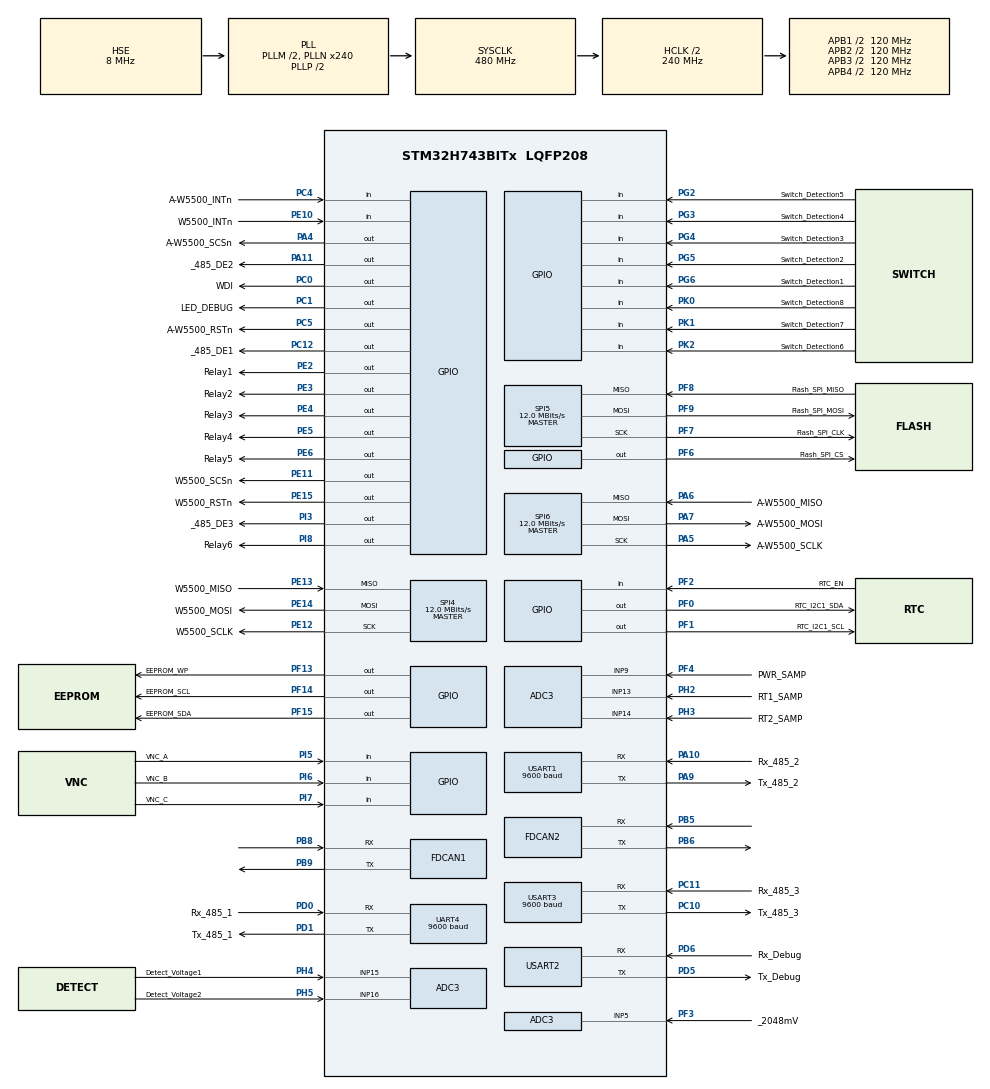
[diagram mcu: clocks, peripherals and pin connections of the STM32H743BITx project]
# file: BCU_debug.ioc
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ADC3.Channel-4\#ChannelRegularConversion=ADC_CHANNEL_14
ADC3.NbrOfConversionFlag=1
ADC3.OffsetNumber-4\#ChannelRegularConversion=ADC_OFFSET_NONE
ADC3.OffsetSignedSaturation-4\#ChannelRegularConversion=DISABLE
ADC3.Rank-4\#ChannelRegularConversion=1
ADC3.SamplingTime-4\#ChannelRegularConversion=ADC_SAMPLETIME_1CYCLE_5
CORTEX_M7.CPU_DCache=Disabled
CORTEX_M7.CPU_ICache=Disabled
Dma.Request0=UART4_RX
Dma.Request1=UART4_TX
Dma.Request2=USART1_RX
Dma.Request3=USART1_TX
Dma.Request4=USART3_RX
Dma.Request5=USART3_TX
Dma.UART4_RX.0.Direction=DMA_PERIPH_TO_MEMORY
Dma.UART4_RX.0.EventEnable=DISABLE
Dma.UART4_RX.0.FIFOMode=DMA_FIFOMODE_DISABLE
Dma.UART4_RX.0.Instance=DMA1_Stream0
Dma.UART4_RX.0.MemDataAlignment=DMA_MDATAALIGN_BYTE
Dma.UART4_RX.0.MemInc=DMA_MINC_ENABLE
Dma.UART4_RX.0.Mode=DMA_NORMAL
Dma.UART4_RX.0.PeriphDataAlignment=DMA_PDATAALIGN_BYTE
Dma.UART4_RX.0.PeriphInc=DMA_PINC_DISABLE
Dma.UART4_RX.0.Polarity=HAL_DMAMUX_REQ_GEN_RISING
Dma.UART4_RX.0.Priority=DMA_PRIORITY_LOW
Dma.UART4_RX.0.RequestNumber=1
Dma.UART4_RX.0.SignalID=NONE
Dma.UART4_RX.0.SyncEnable=DISABLE
Dma.UART4_RX.0.SyncPolarity=HAL_DMAMUX_SYNC_NO_EVENT
Dma.UART4_RX.0.SyncRequestNumber=1
Dma.UART4_RX.0.SyncSignalID=NONE
Dma.UART4_TX.1.Direction=DMA_MEMORY_TO_PERIPH
Dma.UART4_TX.1.EventEnable=DISABLE
Dma.UART4_TX.1.FIFOMode=DMA_FIFOMODE_DISABLE
Dma.UART4_TX.1.Instance=DMA1_Stream1
Dma.UART4_TX.1.MemDataAlignment=DMA_MDATAALIGN_BYTE
Dma.UART4_TX.1.MemInc=DMA_MINC_ENABLE
Dma.UART4_TX.1.Mode=DMA_NORMAL
Dma.UART4_TX.1.PeriphDataAlignment=DMA_PDATAALIGN_BYTE
Dma.UART4_TX.1.PeriphInc=DMA_PINC_DISABLE
Dma.UART4_TX.1.Polarity=HAL_DMAMUX_REQ_GEN_RISING
Dma.UART4_TX.1.Priority=DMA_PRIORITY_LOW
Dma.UART4_TX.1.RequestNumber=1
Dma.UART4_TX.1.SignalID=NONE
Dma.UART4_TX.1.SyncEnable=DISABLE
Dma.UART4_TX.1.SyncPolarity=HAL_DMAMUX_SYNC_NO_EVENT
Dma.UART4_TX.1.SyncRequestNumber=1
Dma.UART4_TX.1.SyncSignalID=NONE
Dma.USART1_RX.2.Direction=DMA_PERIPH_TO_MEMORY
Dma.USART1_RX.2.EventEnable=DISABLE
Dma.USART1_RX.2.FIFOMode=DMA_FIFOMODE_DISABLE
Dma.USART1_RX.2.Instance=DMA1_Stream2
Dma.USART1_RX.2.MemDataAlignment=DMA_MDATAALIGN_BYTE
Dma.USART1_RX.2.MemInc=DMA_MINC_ENABLE
Dma.USART1_RX.2.Mode=DMA_NORMAL
Dma.USART1_RX.2.PeriphDataAlignment=DMA_PDATAALIGN_BYTE
Dma.USART1_RX.2.PeriphInc=DMA_PINC_DISABLE
Dma.USART1_RX.2.Polarity=HAL_DMAMUX_REQ_GEN_RISING
Dma.USART1_RX.2.Priority=DMA_PRIORITY_LOW
Dma.USART1_RX.2.RequestNumber=1
Dma.USART1_RX.2.SignalID=NONE
Dma.USART1_RX.2.SyncEnable=DISABLE
Dma.USART1_RX.2.SyncPolarity=HAL_DMAMUX_SYNC_NO_EVENT
Dma.USART1_RX.2.SyncRequestNumber=1
Dma.USART1_RX.2.SyncSignalID=NONE
Dma.USART1_TX.3.Direction=DMA_MEMORY_TO_PERIPH
Dma.USART1_TX.3.EventEnable=DISABLE
Dma.USART1_TX.3.FIFOMode=DMA_FIFOMODE_DISABLE
Dma.USART1_TX.3.Instance=DMA1_Stream3
Dma.USART1_TX.3.MemDataAlignment=DMA_MDATAALIGN_BYTE
Dma.USART1_TX.3.MemInc=DMA_MINC_ENABLE
Dma.USART1_TX.3.Mode=DMA_NORMAL
Dma.USART1_TX.3.PeriphDataAlignment=DMA_PDATAALIGN_BYTE
Dma.USART1_TX.3.PeriphInc=DMA_PINC_DISABLE
Dma.USART1_TX.3.Polarity=HAL_DMAMUX_REQ_GEN_RISING
Dma.USART1_TX.3.Priority=DMA_PRIORITY_LOW
Dma.USART1_TX.3.RequestNumber=1
Dma.USART1_TX.3.SignalID=NONE
Dma.USART1_TX.3.SyncEnable=DISABLE
Dma.USART1_TX.3.SyncPolarity=HAL_DMAMUX_SYNC_NO_EVENT
Dma.USART1_TX.3.SyncRequestNumber=1
Dma.USART1_TX.3.SyncSignalID=NONE
Dma.USART3_RX.4.Direction=DMA_PERIPH_TO_MEMORY
Dma.USART3_RX.4.EventEnable=DISABLE
Dma.USART3_RX.4.FIFOMode=DMA_FIFOMODE_DISABLE
Dma.USART3_RX.4.Instance=DMA1_Stream4
Dma.USART3_RX.4.MemDataAlignment=DMA_MDATAALIGN_BYTE
Dma.USART3_RX.4.MemInc=DMA_MINC_ENABLE
Dma.USART3_RX.4.Mode=DMA_NORMAL
Dma.USART3_RX.4.PeriphDataAlignment=DMA_PDATAALIGN_BYTE
Dma.USART3_RX.4.PeriphInc=DMA_PINC_DISABLE
Dma.USART3_RX.4.Polarity=HAL_DMAMUX_REQ_GEN_RISING
Dma.USART3_RX.4.Priority=DMA_PRIORITY_LOW
Dma.USART3_RX.4.RequestNumber=1
Dma.USART3_RX.4.SignalID=NONE
Dma.USART3_RX.4.SyncEnable=DISABLE
Dma.USART3_RX.4.SyncPolarity=HAL_DMAMUX_SYNC_NO_EVENT
Dma.USART3_RX.4.SyncRequestNumber=1
Dma.USART3_RX.4.SyncSignalID=NONE
Dma.USART3_TX.5.Direction=DMA_MEMORY_TO_PERIPH
Dma.USART3_TX.5.EventEnable=DISABLE
Dma.USART3_TX.5.FIFOMode=DMA_FIFOMODE_DISABLE
Dma.USART3_TX.5.Instance=DMA1_Stream5
Dma.USART3_TX.5.MemDataAlignment=DMA_MDATAALIGN_BYTE
Dma.USART3_TX.5.MemInc=DMA_MINC_ENABLE
Dma.USART3_TX.5.Mode=DMA_NORMAL
Dma.USART3_TX.5.PeriphDataAlignment=DMA_PDATAALIGN_BYTE
Dma.USART3_TX.5.PeriphInc=DMA_PINC_DISABLE
Dma.USART3_TX.5.Polarity=HAL_DMAMUX_REQ_GEN_RISING
Dma.USART3_TX.5.Priority=DMA_PRIORITY_LOW
Dma.USART3_TX.5.RequestNumber=1
Dma.USART3_TX.5.SignalID=NONE
Dma.USART3_TX.5.SyncEnable=DISABLE
Dma.USART3_TX.5.SyncPolarity=HAL_DMAMUX_SYNC_NO_EVENT
Dma.USART3_TX.5.SyncRequestNumber=1
Dma.USART3_TX.5.SyncSignalID=NONE
FDCAN1.CalculateBaudRateNominal=250000
FDCAN1.CalculateTimeBitNominal=4000
FDCAN1.CalculateTimeQuantumNominal=100.0
FDCAN1.DataPrescaler=8
FDCAN1.DataSyncJumpWidth=12
FDCAN1.DataTimeSeg1=31
FDCAN1.DataTimeSeg2=8
FDCAN1.ExtFiltersNbr=1
FDCAN1.NominalPrescaler=12
FDCAN1.NominalSyncJumpWidth=8
FDCAN1.NominalTimeSeg1=31
FDCAN1.NominalTimeSeg2=8
FDCAN1.RxFifo0ElmtsNbr=64
FDCAN1.RxFifo1ElmtsNbr=0
FDCAN1.StdFiltersNbr=1
FDCAN1.TxFifoQueueElmtsNbr=32
FDCAN2.CalculateBaudRateNominal=250000
FDCAN2.CalculateTimeBitNominal=4000
FDCAN2.CalculateTimeQuantumNominal=100.0
FDCAN2.DataPrescaler=8
FDCAN2.DataSyncJumpWidth=12
FDCAN2.DataTimeSeg1=31
FDCAN2.DataTimeSeg2=8
FDCAN2.ExtFiltersNbr=1
FDCAN2.MessageRAMOffset=1280
FDCAN2.NominalPrescaler=12
FDCAN2.NominalSyncJumpWidth=8
FDCAN2.NominalTimeSeg1=31
FDCAN2.NominalTimeSeg2=8
FDCAN2.RxFifo0ElmtsNbr=0
FDCAN2.RxFifo1ElmtsNbr=64
FDCAN2.StdFiltersNbr=1
FDCAN2.TxFifoQueueElmtsNbr=32
FREERTOS.BinarySemaphores01=BinarySem_485_1_Tx,Static,BinarySem_485_1_TxControlBlock;BinarySem_485_1_Rx,Static,BinarySem_485_1_RxControlBlock;BinarySem_485_2_Tx,Static,BinarySem_485_2_TxControlBlock;BinarySem_485_2_Rx,Static,BinarySem_485_2_RxControlBlock;BinarySem_485_3_Tx,Static,BinarySem_485_3_TxControlBlock;BinarySem_485_3_Rx,Static,BinarySem_485_3_RxControlBlock;BinarySem_LAN_2_Tx,Static,BinarySem_LAN_2_TxControlBlock;BinarySem_LAN_2_Rx,Static,BinarySem_LAN_2_RxControlBlock
FREERTOS.Events01=Comm485_1_Event,Static,Comm485_1_EventControlBlock;Comm485_2_Event,Static,Comm485_2_EventControlBlock;Comm485_3_Event,Static,Comm485_3_EventControlBlock;CommCAN_1_Event,Static,CommCAN_1_EventControlBlock;CommCAN_2_Event,Static,CommCAN_2_EventControlBlock;CommCAN_3_Event,Static,CommCAN_3_EventControlBlock;CommLAN_1_Event,Static,CommLAN_1_EventControlBlock;CommLAN_2_Event,Static,CommLAN_2_EventControlBlock;DI_Event,Static,DI_EventControlBlock;ADC_Event,Static,ADC_EventControlBlock;SysManage_Event,Static,SysManage_EventControlBlock
FREERTOS.Tasks01=defaultTask,24,128,StartDefaultTask,Default,NULL,Static,defaultTaskBuffer,defaultTaskControlBlock;Comm485_1_Task,25,2048,StartComm485_1_Task,Default,NULL,Static,Comm485_1_TaskBuffer,Comm485_1_TaskControlBlock;Comm485_2_Task,26,2048,StartComm485_2_Task,Default,NULL,Static,Comm485_2_TaskBuffer,Comm485_2_TaskControlBlock;Comm485_3_Task,27,2048,StartComm485_3_Task,Default,NULL,Static,Comm485_3_TaskBuffer,Comm485_3_TaskControlBlock;CommCAN_1_Task,28,2048,StartCommCAN_1_Task,Default,NULL,Static,CommCAN_1_TaskBuffer,CommCAN_1_TaskControlBlock;CommCAN_2_Task,29,2048,StartCommCAN_2_Task,Default,NULL,Static,CommCAN_2_TaskBuffer,CommCAN_2_TaskControlBlock;CommCAN_3_Task,30,2048,StartCommCAN_3_Task,Default,NULL,Static,CommCAN_3_TaskBuffer,CommCAN_3_TaskControlBlock;CommLAN_1_Task,31,2048,StartCommLAN_1_Task,Default,NULL,Static,CommLAN_1_TaskBuffer,CommLAN_1_TaskControlBlock;CommLAN_2_Task,32,2048,StartCommLAN_2_Task,Default,NULL,Static,CommLAN_2_TaskBuffer,CommLAN_2_TaskControlBlock;DI_Task,23,2048,StartDI_Task,Default,NULL,Static,DI_TaskBuffer,DI_TaskControlBlock;ADC_Task,22,2048,StartADC_Task,Default,NULL,Static,ADC_TaskBuffer,ADC_TaskControlBlock;SysManage_Task,33,2048,StartSystemManageTask,Default,NULL,Static,SysManage_TaskBuffer,SysManage_TaskControlBlock
FREERTOS.configENABLE_FPU=1
Mcu.Family=STM32H7
Mcu.Name=STM32H743BITx
Mcu.Package=LQFP208
NVIC.DMA1_Stream0_IRQn=true\:5\:0\:false\:false\:true\:true\:false\:true\:true
NVIC.DMA1_Stream1_IRQn=true\:5\:0\:false\:false\:true\:true\:false\:true\:true
NVIC.DMA1_Stream2_IRQn=true\:5\:0\:false\:false\:true\:true\:false\:true\:true
NVIC.DMA1_Stream3_IRQn=true\:5\:0\:false\:false\:true\:true\:false\:true\:true
NVIC.DMA1_Stream4_IRQn=true\:5\:0\:false\:false\:true\:true\:false\:true\:true
NVIC.DMA1_Stream5_IRQn=true\:5\:0\:false\:false\:true\:true\:false\:true\:true
NVIC.FDCAN1_IT0_IRQn=true\:5\:0\:false\:false\:true\:true\:true\:true\:true
NVIC.FDCAN2_IT0_IRQn=true\:5\:0\:false\:false\:true\:true\:true\:true\:true
NVIC.PriorityGroup=NVIC_PRIORITYGROUP_4
NVIC.TIM6_DAC_IRQn=true\:15\:0\:false\:false\:true\:false\:false\:true\:true
NVIC.TimeBase=TIM6_DAC_IRQn
NVIC.TimeBaseIP=TIM6
NVIC.UART4_IRQn=true\:5\:0\:false\:false\:true\:true\:true\:true\:true
NVIC.USART1_IRQn=true\:5\:0\:false\:false\:true\:true\:true\:true\:true
NVIC.USART3_IRQn=true\:5\:0\:false\:false\:true\:true\:true\:true\:true
PA10.GPIO_Label=Rx_485_2
PA10.GPIO_PuPd=GPIO_PULLUP
PA10.GPIO_Speed=GPIO_SPEED_FREQ_VERY_HIGH
PA10.Mode=Asynchronous
PA10.Signal=USART1_RX
PA11.GPIO_Label=_485_DE2
PA11.GPIO_PuPd=GPIO_PULLUP
PA11.PinState=GPIO_PIN_SET
PA11.Signal=GPIO_Output
PA13\ (JTMS/SWDIO).Mode=Serial_Wire
PA13\ (JTMS/SWDIO).Signal=DEBUG_JTMS-SWDIO
PA14\ (JTCK/SWCLK).Mode=Serial_Wire
PA14\ (JTCK/SWCLK).Signal=DEBUG_JTCK-SWCLK
PA4.GPIO_Label=A-W5500_SCSn
PA4.GPIO_PuPd=GPIO_PULLUP
PA4.GPIO_Speed=GPIO_SPEED_FREQ_VERY_HIGH
PA4.PinState=GPIO_PIN_SET
PA4.Signal=GPIO_Output
PA5.GPIO_Label=A-W5500_SCLK
PA5.GPIO_PuPd=GPIO_PULLUP
PA5.GPIO_Speed=GPIO_SPEED_FREQ_VERY_HIGH
PA5.Mode=Full_Duplex_Master
PA5.Signal=SPI6_SCK
PA6.GPIO_Label=A-W5500_MISO
PA6.GPIO_PuPd=GPIO_PULLUP
PA6.GPIO_Speed=GPIO_SPEED_FREQ_VERY_HIGH
PA6.Mode=Full_Duplex_Master
PA6.Signal=SPI6_MISO
PA7.GPIO_Label=A-W5500_MOSI
PA7.GPIO_PuPd=GPIO_PULLUP
PA7.GPIO_Speed=GPIO_SPEED_FREQ_VERY_HIGH
PA7.Mode=Full_Duplex_Master
PA7.Signal=SPI6_MOSI
PA9.GPIO_Label=Tx_485_2
PA9.GPIO_PuPd=GPIO_PULLUP
PA9.GPIO_Speed=GPIO_SPEED_FREQ_VERY_HIGH
PA9.Mode=Asynchronous
PA9.Signal=USART1_TX
PB5.GPIO_PuPd=GPIO_PULLUP
PB5.GPIO_Speed=GPIO_SPEED_FREQ_VERY_HIGH
PB5.Mode=FDCAN_Activate
PB5.Signal=FDCAN2_RX
PB6.GPIO_FM6=SYSCFG_PMCR_I2C_PB6_FMP
PB6.GPIO_PuPd=GPIO_PULLUP
PB6.GPIO_Speed=GPIO_SPEED_FREQ_VERY_HIGH
PB6.Mode=FDCAN_Activate
PB6.Signal=FDCAN2_TX
PB8.GPIO_FM8=SYSCFG_PMCR_I2C_PB8_FMP
PB8.GPIO_PuPd=GPIO_PULLUP
PB8.GPIO_Speed=GPIO_SPEED_FREQ_VERY_HIGH
PB8.Mode=FDCAN_Activate
PB8.Signal=FDCAN1_RX
PB9.GPIO_FM9=SYSCFG_PMCR_I2C_PB9_FMP
PB9.GPIO_PuPd=GPIO_PULLUP
PB9.GPIO_Speed=GPIO_SPEED_FREQ_VERY_HIGH
PB9.Mode=FDCAN_Activate
PB9.Signal=FDCAN1_TX
PC0.GPIO_Label=WDI
PC0.GPIO_PuPd=GPIO_PULLUP
PC0.GPIO_Speed=GPIO_SPEED_FREQ_LOW
PC0.Signal=GPIO_Output
PC1.GPIO_Label=LED_DEBUG
PC1.GPIO_PuPd=GPIO_PULLUP
PC1.GPIO_Speed=GPIO_SPEED_FREQ_LOW
PC1.Signal=GPIO_Output
PC10.GPIO_Label=Tx_485_3
PC10.GPIO_PuPd=GPIO_PULLUP
PC10.GPIO_Speed=GPIO_SPEED_FREQ_VERY_HIGH
PC10.Mode=Asynchronous
PC10.Signal=USART3_TX
PC11.GPIO_Label=Rx_485_3
PC11.GPIO_PuPd=GPIO_PULLDOWN
PC11.GPIO_Speed=GPIO_SPEED_FREQ_VERY_HIGH
PC11.Mode=Asynchronous
PC11.Signal=USART3_RX
PC12.GPIO_Label=_485_DE1
PC12.GPIO_PuPd=GPIO_PULLUP
PC12.GPIO_Speed=GPIO_SPEED_FREQ_LOW
PC12.PinState=GPIO_PIN_SET
PC12.Signal=GPIO_Output
PC4.GPIO_Label=A-W5500_INTn
PC4.GPIO_PuPd=GPIO_PULLUP
PC4.Signal=GPIO_Input
PC5.GPIO_Label=A-W5500_RSTn
PC5.GPIO_PuPd=GPIO_PULLUP
PC5.GPIO_Speed=GPIO_SPEED_FREQ_VERY_HIGH
PC5.Signal=GPIO_Output
PD0.GPIO_Label=Rx_485_1
PD0.GPIO_PuPd=GPIO_PULLUP
PD0.GPIO_Speed=GPIO_SPEED_FREQ_VERY_HIGH
PD0.Mode=Asynchronous
PD0.Signal=UART4_RX
PD1.GPIO_Label=Tx_485_1
PD1.GPIO_PuPd=GPIO_PULLUP
PD1.GPIO_Speed=GPIO_SPEED_FREQ_VERY_HIGH
PD1.Mode=Asynchronous
PD1.Signal=UART4_TX
PD5.GPIO_Label=Tx_Debug
PD5.GPIO_PuPd=GPIO_PULLUP
PD5.GPIO_Speed=GPIO_SPEED_FREQ_VERY_HIGH
PD5.Mode=Asynchronous
PD5.Signal=USART2_TX
PD6.GPIO_Label=Rx_Debug
PD6.GPIO_PuPd=GPIO_PULLUP
PD6.GPIO_Speed=GPIO_SPEED_FREQ_VERY_HIGH
PD6.Mode=Asynchronous
PD6.Signal=USART2_RX
PE10.GPIO_Label=W5500_INTn
PE10.GPIO_PuPd=GPIO_PULLUP
PE10.Signal=GPIO_Input
PE11.GPIO_Label=W5500_SCSn
PE11.GPIO_PuPd=GPIO_PULLUP
PE11.GPIO_Speed=GPIO_SPEED_FREQ_VERY_HIGH
PE11.PinState=GPIO_PIN_SET
PE11.Signal=GPIO_Output
PE12.GPIO_Label=W5500_SCLK
PE12.GPIO_PuPd=GPIO_PULLUP
PE12.GPIO_Speed=GPIO_SPEED_FREQ_VERY_HIGH
PE12.Mode=Full_Duplex_Master
PE12.Signal=SPI4_SCK
PE13.GPIO_Label=W5500_MISO
PE13.GPIO_PuPd=GPIO_PULLUP
PE13.GPIO_Speed=GPIO_SPEED_FREQ_VERY_HIGH
PE13.Mode=Full_Duplex_Master
PE13.Signal=SPI4_MISO
PE14.GPIO_Label=W5500_MOSI
PE14.GPIO_PuPd=GPIO_PULLUP
PE14.GPIO_Speed=GPIO_SPEED_FREQ_VERY_HIGH
PE14.Mode=Full_Duplex_Master
PE14.Signal=SPI4_MOSI
PE15.GPIO_Label=W5500_RSTn
PE15.GPIO_PuPd=GPIO_PULLUP
PE15.GPIO_Speed=GPIO_SPEED_FREQ_VERY_HIGH
PE15.Signal=GPIO_Output
PE2.GPIO_Label=Relay1
PE2.GPIO_PuPd=GPIO_PULLUP
PE2.GPIO_Speed=GPIO_SPEED_FREQ_VERY_HIGH
PE2.Signal=GPIO_Output
PE3.GPIO_Label=Relay2
PE3.GPIO_PuPd=GPIO_PULLUP
PE3.GPIO_Speed=GPIO_SPEED_FREQ_VERY_HIGH
PE3.Signal=GPIO_Output
PE4.GPIO_Label=Relay3
PE4.GPIO_PuPd=GPIO_PULLUP
PE4.GPIO_Speed=GPIO_SPEED_FREQ_VERY_HIGH
PE4.Signal=GPIO_Output
PE5.GPIO_Label=Relay4
PE5.GPIO_PuPd=GPIO_PULLUP
PE5.GPIO_Speed=GPIO_SPEED_FREQ_VERY_HIGH
PE5.Signal=GPIO_Output
PE6.GPIO_Label=Relay5
PE6.GPIO_PuPd=GPIO_PULLUP
PE6.GPIO_Speed=GPIO_SPEED_FREQ_VERY_HIGH
PE6.Signal=GPIO_Output
PF0.GPIO_Label=RTC_I2C1_SDA
PF0.GPIO_PuPd=GPIO_PULLUP
PF0.GPIO_Speed=GPIO_SPEED_FREQ_VERY_HIGH
PF0.Signal=GPIO_Output
PF1.GPIO_Label=RTC_I2C1_SCL
PF1.GPIO_PuPd=GPIO_PULLUP
PF1.GPIO_Speed=GPIO_SPEED_FREQ_VERY_HIGH
PF1.Signal=GPIO_Output
PF13.GPIO_Label=EEPROM_WP
PF13.GPIO_PuPd=GPIO_PULLUP
PF13.GPIO_Speed=GPIO_SPEED_FREQ_VERY_HIGH
PF13.Signal=GPIO_Output
PF14.GPIO_Label=EEPROM_SCL
PF14.GPIO_PuPd=GPIO_PULLUP
PF14.GPIO_Speed=GPIO_SPEED_FREQ_VERY_HIGH
PF14.Signal=GPIO_Output
PF15.GPIO_Label=EEPROM_SDA
PF15.GPIO_PuPd=GPIO_PULLUP
PF15.GPIO_Speed=GPIO_SPEED_FREQ_VERY_HIGH
PF15.Signal=GPIO_Output
PF2.GPIO_Label=RTC_EN
PF2.GPIO_PuPd=GPIO_PULLUP
PF2.Signal=GPIO_Input
PF3.GPIO_Label=_2048mV
PF3.Mode=IN5-Single-Ended
PF3.Signal=ADC3_INP5
PF4.GPIO_Label=PWR_SAMP
PF4.Mode=IN9-Single-Ended
PF4.Signal=ADC3_INP9
PF6.GPIO_Label=Flash_SPI_CS
PF6.GPIO_PuPd=GPIO_PULLUP
PF6.GPIO_Speed=GPIO_SPEED_FREQ_VERY_HIGH
PF6.Signal=GPIO_Output
PF7.GPIO_Label=Flash_SPI_CLK
PF7.GPIO_PuPd=GPIO_PULLUP
PF7.GPIO_Speed=GPIO_SPEED_FREQ_VERY_HIGH
PF7.Mode=Full_Duplex_Master
PF7.Signal=SPI5_SCK
PF8.GPIO_Label=Flash_SPI_MISO
PF8.GPIO_PuPd=GPIO_PULLUP
PF8.GPIO_Speed=GPIO_SPEED_FREQ_VERY_HIGH
PF8.Mode=Full_Duplex_Master
PF8.Signal=SPI5_MISO
PF9.GPIO_Label=Flash_SPI_MOSI
PF9.GPIO_PuPd=GPIO_PULLUP
PF9.GPIO_Speed=GPIO_SPEED_FREQ_VERY_HIGH
PF9.Mode=Full_Duplex_Master
PF9.Signal=SPI5_MOSI
PG2.GPIO_Label=Switch_Detection5
PG2.GPIO_PuPd=GPIO_PULLUP
PG2.Signal=GPIO_Input
PG3.GPIO_Label=Switch_Detection4
PG3.GPIO_PuPd=GPIO_PULLUP
PG3.Signal=GPIO_Input
PG4.GPIO_Label=Switch_Detection3
PG4.GPIO_PuPd=GPIO_PULLUP
PG4.Signal=GPIO_Input
PG5.GPIO_Label=Switch_Detection2
PG5.GPIO_PuPd=GPIO_PULLUP
PG5.Signal=GPIO_Input
PG6.GPIO_Label=Switch_Detection1
PG6.GPIO_PuPd=GPIO_PULLUP
PG6.Signal=GPIO_Input
PH0-OSC_IN\ (PH0).Mode=HSE-External-Oscillator
PH0-OSC_IN\ (PH0).Signal=RCC_OSC_IN
PH1-OSC_OUT\ (PH1).Mode=HSE-External-Oscillator
PH1-OSC_OUT\ (PH1).Signal=RCC_OSC_OUT
PH2.GPIO_Label=RT1_SAMP
PH2.Mode=IN13-Single-Ended
PH2.Signal=ADC3_INP13
PH3.GPIO_Label=RT2_SAMP
PH3.Mode=IN14-Single-Ended
PH3.Signal=ADC3_INP14
PH4.GPIO_Label=Detect_Voltage1
PH4.Mode=IN15-Single-Ended
PH4.Signal=ADC3_INP15
PH5.GPIO_Label=Detect_Voltage2
PH5.Mode=IN16-Single-Ended
PH5.Signal=ADC3_INP16
PI3.GPIO_Label=_485_DE3
PI3.GPIO_PuPd=GPIO_PULLUP
PI3.PinState=GPIO_PIN_SET
PI3.Signal=GPIO_Output
PI5.GPIO_Label=VNC_A
PI5.GPIO_PuPd=GPIO_PULLUP
PI5.Signal=GPIO_Input
PI6.GPIO_Label=VNC_B
PI6.GPIO_PuPd=GPIO_PULLUP
PI6.Signal=GPIO_Input
PI7.GPIO_Label=VNC_C
PI7.GPIO_PuPd=GPIO_PULLUP
PI7.Signal=GPIO_Input
PI8.GPIO_Label=Relay6
PI8.GPIO_PuPd=GPIO_PULLUP
PI8.Signal=GPIO_Output
PK0.GPIO_Label=Switch_Detection8
PK0.GPIO_PuPd=GPIO_PULLUP
PK0.Signal=GPIO_Input
PK1.GPIO_Label=Switch_Detection7
PK1.GPIO_PuPd=GPIO_PULLUP
PK1.Signal=GPIO_Input
PK2.GPIO_Label=Switch_Detection6
PK2.GPIO_PuPd=GPIO_PULLUP
PK2.Signal=GPIO_Input
ProjectManager.HeapSize=0x8000
ProjectManager.StackSize=0x1000
ProjectManager.TargetToolchain=MDK-ARM V5.32
RCC.ADCFreq_Value=80000000
RCC.APB1Freq_Value=120000000
RCC.APB2Freq_Value=120000000
RCC.APB3Freq_Value=120000000
RCC.APB4Freq_Value=120000000
RCC.CortexFreq_Value=480000000
RCC.D1PPRE=RCC_APB3_DIV2
RCC.D2PPRE1=RCC_APB1_DIV2
RCC.D2PPRE2=RCC_APB2_DIV2
RCC.D3PPRE=RCC_APB4_DIV2
RCC.DIVM1=2
RCC.DIVM2=2
RCC.DIVM3=2
RCC.DIVN1=240
RCC.DIVN2=60
RCC.DIVN3=120
RCC.DIVP2=3
RCC.DIVQ1=8
RCC.DIVQ3=5
RCC.FLatency-AdvancedSettings=FLASH_LATENCY_0
RCC.HCLKFreq_Value=240000000
RCC.HPRE=RCC_HCLK_DIV2
RCC.HSE_VALUE=8000000
RCC.PLL1_VCI_Range-AdvancedSettings=RCC_PLL1VCIRANGE_0
RCC.PLL3_VCI_Range-AdvancedSettings=RCC_PLL3VCIRANGE_0
RCC.PLLFRACN=0
RCC.PLLSourceVirtual=RCC_PLLSOURCE_HSE
RCC.SPI6CLockSelection=RCC_SPI6CLKSOURCE_PLL3
RCC.SYSCLKFreq_VALUE=480000000
RCC.SYSCLKSource=RCC_SYSCLKSOURCE_PLLCLK
RCC.Spi45ClockSelection=RCC_SPI45CLKSOURCE_PLL3
RCC.Tim1Mul=2
RCC.USBFreq_Value=120000000
SPI4.BaudRatePrescaler=SPI_BAUDRATEPRESCALER_8
SPI4.CLKPhase=SPI_PHASE_2EDGE
SPI4.CLKPolarity=SPI_POLARITY_HIGH
SPI4.CRCCalculation=SPI_CRCCALCULATION_DISABLE
SPI4.CalculateBaudRate=12.0 MBits/s
SPI4.DataSize=SPI_DATASIZE_8BIT
SPI4.Direction=SPI_DIRECTION_2LINES
SPI4.MasterKeepIOState=SPI_MASTER_KEEP_IO_STATE_ENABLE
SPI4.Mode=SPI_MODE_MASTER
SPI4.NSSPMode=SPI_NSS_PULSE_DISABLE
SPI4.VirtualType=VM_MASTER
SPI5.BaudRatePrescaler=SPI_BAUDRATEPRESCALER_8
SPI5.CLKPhase=SPI_PHASE_2EDGE
SPI5.CLKPolarity=SPI_POLARITY_HIGH
SPI5.CalculateBaudRate=12.0 MBits/s
SPI5.DataSize=SPI_DATASIZE_8BIT
SPI5.Direction=SPI_DIRECTION_2LINES
SPI5.MasterKeepIOState=SPI_MASTER_KEEP_IO_STATE_ENABLE
SPI5.Mode=SPI_MODE_MASTER
SPI5.NSSPMode=SPI_NSS_PULSE_DISABLE
SPI5.VirtualType=VM_MASTER
SPI6.BaudRatePrescaler=SPI_BAUDRATEPRESCALER_8
SPI6.CLKPhase=SPI_PHASE_2EDGE
SPI6.CLKPolarity=SPI_POLARITY_HIGH
SPI6.CalculateBaudRate=12.0 MBits/s
SPI6.DataSize=SPI_DATASIZE_8BIT
SPI6.Direction=SPI_DIRECTION_2LINES
SPI6.MasterKeepIOState=SPI_MASTER_KEEP_IO_STATE_ENABLE
SPI6.Mode=SPI_MODE_MASTER
SPI6.NSSPMode=SPI_NSS_PULSE_DISABLE
SPI6.VirtualType=VM_MASTER
UART4.BaudRate=9600
USART1.BaudRate=9600
USART1.VirtualMode-Asynchronous=VM_ASYNC
USART2.VirtualMode-Asynchronous=VM_ASYNC
USART3.BaudRate=9600
USART3.VirtualMode-Asynchronous=VM_ASYNC
VP_FREERTOS_VS_CMSIS_V2.Mode=CMSIS_V2
VP_RNG_VS_RNG.Mode=RNG_Activate
VP_SYS_VS_tim6.Mode=TIM6
board=custom

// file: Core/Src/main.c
/* USER CODE BEGIN Header */
/**
  ******************************************************************************
  * @file           : main.c
  * @brief          : Main program body
  ******************************************************************************
  * @attention
  *
  * Copyright (c) 2025 STMicroelectronics.
  * All rights reserved.
  *
  * This software is licensed under terms that can be found in the LICENSE file
  * in the root directory of this software component.
  * If no LICENSE file comes with this software, it is provided AS-IS.
  *
  ******************************************************************************
  */
/* USER CODE END Header */
#include "main.h"
#include "cmsis_os.h"
#include "adc.h"
#include "dma.h"
#include "fdcan.h"
#include "rng.h"
#include "spi.h"
#include "usart.h"
#include "gpio.h"

/* USER CODE BEGIN Includes */
#include "ProtocolConvert.h"
#include "SysManage.h"
#include "LAN_ZVPP_ECSUpper_IF.h"
#include "dhcp.h"
/* USER CODE END Includes */

void SystemClock_Config(void);
void PeriphCommonClock_Config(void);
void MX_FREERTOS_Init(void);

/* USER CODE BEGIN 0 */
int fputc(int ch, FILE *f)
{
  uint8_t c = (uint8_t)ch;
  HAL_UART_Transmit(&huart2, &c, 1, HAL_MAX_DELAY);
  return ch;
}

void Printf_Array(uint8_t *str, uint8_t *Array,uint16_t Len)
{
    printf("%s : ", str);

    for(int i = 0; i < Len; i++)
        printf("0x%02x, ", Array[i]);

    printf("\n");
}

static uint32_t g_delay_cycles_per_us = 0;

void delay_us_init(void)
{
  CoreDebug->DEMCR |= CoreDebug_DEMCR_TRCENA_Msk;
  DWT->CYCCNT = 0;
  DWT->CTRL |= DWT_CTRL_CYCCNTENA_Msk;
  g_delay_cycles_per_us = HAL_RCC_GetHCLKFreq() / 1000000U;
  if (g_delay_cycles_per_us == 0U)
  {
    g_delay_cycles_per_us = 1U;
  }
}

void delay_us(uint32_t us)
{
  if (us == 0U)
  {
    return;
  }
  if ((DWT->CTRL & DWT_CTRL_CYCCNTENA_Msk) == 0U || g_delay_cycles_per_us == 0U)
  {
    delay_us_init();
  }

  uint64_t total_cycles_64 = (uint64_t)us * (uint64_t)g_delay_cycles_per_us;
  while (total_cycles_64 != 0U)
  {
    uint32_t chunk = (total_cycles_64 > 0xFFFFFFFFULL) ? 0xFFFFFFFFU : (uint32_t)total_cycles_64;
    uint32_t start = DWT->CYCCNT;
    while ((uint32_t)(DWT->CYCCNT - start) < chunk)
    {
    }
    total_cycles_64 -= (uint64_t)chunk;
  }
}

uint16_t Get_GPIO_Pin_No(uint16_t GPIO_Pin)
{
  switch (GPIO_Pin)
  {
  case GPIO_PIN_0:
    return 0;
  case GPIO_PIN_1:
    return 1;
  case GPIO_PIN_2:
    return 2;
  case GPIO_PIN_3:
    return 3;
  case GPIO_PIN_4:
    return 4;
  case GPIO_PIN_5:
    return 5;
  case GPIO_PIN_6:
    return 6;
  case GPIO_PIN_7:
    return 7;
  case GPIO_PIN_8:
    return 8;
  case GPIO_PIN_9:
    return 9;
  case GPIO_PIN_10:
    return 10;
  case GPIO_PIN_11:
    return 11;
  case GPIO_PIN_12:
    return 12;
  case GPIO_PIN_13:
    return 13;
  case GPIO_PIN_14:
    return 14;
  case GPIO_PIN_15:
    return 15;
  default:
    return 0;
  }
}

/* USER CODE END 0 */

int main(void)
{

  /* MCU Configuration--------------------------------------------------------*/

  /* Reset of all peripherals, Initializes the Flash interface and the Systick. */
  HAL_Init();

  /* Configure the system clock */
  SystemClock_Config();

/* Configure the peripherals common clocks */
  PeriphCommonClock_Config();

  /* Initialize all configured peripherals */
  MX_GPIO_Init();
  MX_DMA_Init();
  MX_UART4_Init();
  MX_SPI6_Init();
  MX_FDCAN1_Init();
  MX_FDCAN2_Init();
  MX_USART1_UART_Init();
  MX_USART2_UART_Init();
  MX_USART3_UART_Init();
  MX_ADC3_Init();
  MX_SPI4_Init();
  MX_SPI5_Init();
  MX_RNG_Init();
  /* USER CODE BEGIN 2 */
  delay_us_init();
  printf("app main\r\n");

  Init_ProtocolConvert();
  SysManage_CalcDeviceNum();

  USART_UART_Init(1, GetPortConfig_rs485(1));
  USART_UART_Init(2, GetPortConfig_rs485(2));
  USART_UART_Init(3, GetPortConfig_rs485(3));

  FDCAN_Init(1, GetPortConfig_CAN(1));
  FDCAN_Init(2, GetPortConfig_CAN(2));

  /* USER CODE END 2 */

  /* Init scheduler */
  osKernelInitialize();

  /* Call init function for freertos objects (in freertos.c) */
  MX_FREERTOS_Init();

  /* Start scheduler */
  osKernelStart();

  /* We should never get here as control is now taken by the scheduler */
  /* Infinite loop */
  while (1)
  {

  }
}

void SystemClock_Config(void)
{
  RCC_OscInitTypeDef RCC_OscInitStruct = {0};
  RCC_ClkInitTypeDef RCC_ClkInitStruct = {0};

  /** Supply configuration update enable
  */
  HAL_PWREx_ConfigSupply(PWR_LDO_SUPPLY);

  /** Configure the main internal regulator output voltage
  */
  __HAL_PWR_VOLTAGESCALING_CONFIG(PWR_REGULATOR_VOLTAGE_SCALE1);

  while(!__HAL_PWR_GET_FLAG(PWR_FLAG_VOSRDY)) {}

  __HAL_RCC_SYSCFG_CLK_ENABLE();
  __HAL_PWR_VOLTAGESCALING_CONFIG(PWR_REGULATOR_VOLTAGE_SCALE0);

  while(!__HAL_PWR_GET_FLAG(PWR_FLAG_VOSRDY)) {}

  /** Initializes the RCC Oscillators according to the specified parameters
  * in the RCC_OscInitTypeDef structure.
  */
  RCC_OscInitStruct.OscillatorType = RCC_OSCILLATORTYPE_HSI48|RCC_OSCILLATORTYPE_HSE;
  RCC_OscInitStruct.HSEState = RCC_HSE_ON;
  RCC_OscInitStruct.HSI48State = RCC_HSI48_ON;
  RCC_OscInitStruct.PLL.PLLState = RCC_PLL_ON;
  RCC_OscInitStruct.PLL.PLLSource = RCC_PLLSOURCE_HSE;
  RCC_OscInitStruct.PLL.PLLM = 2;
  RCC_OscInitStruct.PLL.PLLN = 240;
  RCC_OscInitStruct.PLL.PLLP = 2;
  RCC_OscInitStruct.PLL.PLLQ = 8;
  RCC_OscInitStruct.PLL.PLLR = 2;
  RCC_OscInitStruct.PLL.PLLRGE = RCC_PLL1VCIRANGE_2;
  RCC_OscInitStruct.PLL.PLLVCOSEL = RCC_PLL1VCOWIDE;
  RCC_OscInitStruct.PLL.PLLFRACN = 0;
  if (HAL_RCC_OscConfig(&RCC_OscInitStruct) != HAL_OK)
  {
    Error_Handler();
  }

  /** Initializes the CPU, AHB and APB buses clocks
  */
  RCC_ClkInitStruct.ClockType = RCC_CLOCKTYPE_HCLK|RCC_CLOCKTYPE_SYSCLK
                              |RCC_CLOCKTYPE_PCLK1|RCC_CLOCKTYPE_PCLK2
                              |RCC_CLOCKTYPE_D3PCLK1|RCC_CLOCKTYPE_D1PCLK1;
  RCC_ClkInitStruct.SYSCLKSource = RCC_SYSCLKSOURCE_PLLCLK;
  RCC_ClkInitStruct.SYSCLKDivider = RCC_SYSCLK_DIV1;
  RCC_ClkInitStruct.AHBCLKDivider = RCC_HCLK_DIV2;
  RCC_ClkInitStruct.APB3CLKDivider = RCC_APB3_DIV2;
  RCC_ClkInitStruct.APB1CLKDivider = RCC_APB1_DIV2;
  RCC_ClkInitStruct.APB2CLKDivider = RCC_APB2_DIV2;
  RCC_ClkInitStruct.APB4CLKDivider = RCC_APB4_DIV2;

  if (HAL_RCC_ClockConfig(&RCC_ClkInitStruct, FLASH_LATENCY_4) != HAL_OK)
  {
    Error_Handler();
  }
}

void PeriphCommonClock_Config(void)
{
  RCC_PeriphCLKInitTypeDef PeriphClkInitStruct = {0};

  /** Initializes the peripherals clock
  */
  PeriphClkInitStruct.PeriphClockSelection = RCC_PERIPHCLK_SPI6|RCC_PERIPHCLK_SPI4
                              |RCC_PERIPHCLK_SPI5;
  PeriphClkInitStruct.PLL3.PLL3M = 2;
  PeriphClkInitStruct.PLL3.PLL3N = 120;
  PeriphClkInitStruct.PLL3.PLL3P = 2;
  PeriphClkInitStruct.PLL3.PLL3Q = 5;
  PeriphClkInitStruct.PLL3.PLL3R = 2;
  PeriphClkInitStruct.PLL3.PLL3RGE = RCC_PLL3VCIRANGE_2;
  PeriphClkInitStruct.PLL3.PLL3VCOSEL = RCC_PLL3VCOWIDE;
  PeriphClkInitStruct.PLL3.PLL3FRACN = 0;
  PeriphClkInitStruct.Spi45ClockSelection = RCC_SPI45CLKSOURCE_PLL3;
  PeriphClkInitStruct.Spi6ClockSelection = RCC_SPI6CLKSOURCE_PLL3;
  if (HAL_RCCEx_PeriphCLKConfig(&PeriphClkInitStruct) != HAL_OK)
  {
    Error_Handler();
  }
}

void HAL_TIM_PeriodElapsedCallback(TIM_HandleTypeDef *htim)
{
  /* USER CODE BEGIN Callback 0 */
  static uint32_t wiz_timer_1ms_count = 0;
  /* USER CODE END Callback 0 */
  if (htim->Instance == TIM6) {
    HAL_IncTick();
  }
  /* USER CODE BEGIN Callback 1 */
  if (htim->Instance == TIM6)
  {
    Task_Cycle_Count();

		wiz_timer_1ms_count++;
		if (wiz_timer_1ms_count >= 1000)
		{
				DHCP_time_handler();
				wiz_timer_1ms_count = 0;
		}
  }

  /* USER CODE END Callback 1 */
}

void Error_Handler(void)
{
  __disable_irq();
  while (1)
  {
  }
}

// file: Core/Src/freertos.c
/* USER CODE BEGIN Header */
/**
  ******************************************************************************
  * File Name          : freertos.c
  * Description        : Code for freertos applications
  ******************************************************************************
  * @attention
  *
  * Copyright (c) 2025 STMicroelectronics.
  * All rights reserved.
  *
  * This software is licensed under terms that can be found in the LICENSE file
  * in the root directory of this software component.
  * If no LICENSE file comes with this software, it is provided AS-IS.
  *
  ******************************************************************************
  */
/* USER CODE END Header */

#include "FreeRTOS.h"
#include "task.h"
#include "main.h"
#include "cmsis_os.h"

/* USER CODE BEGIN Includes */
#include "usart.h"
#include "CommCAN.h"
#include "CommLAN_1.h"
#include "CommLAN_2.h"
#include "Comm485.h"
#include "DI.h"
#include "AD.h"
#include "SysManage.h"

/* USER CODE END Includes */

typedef StaticTask_t osStaticThreadDef_t;
typedef StaticSemaphore_t osStaticSemaphoreDef_t;
typedef StaticEventGroup_t osStaticEventGroupDef_t;

/* Definitions for defaultTask */
osThreadId_t defaultTaskHandle;
uint32_t defaultTaskBuffer[ 128 ];
osStaticThreadDef_t defaultTaskControlBlock;
const osThreadAttr_t defaultTask_attributes = {
  .name = "defaultTask",
  .cb_mem = &defaultTaskControlBlock,
  .cb_size = sizeof(defaultTaskControlBlock),
  .stack_mem = &defaultTaskBuffer[0],
  .stack_size = sizeof(defaultTaskBuffer),
  .priority = (osPriority_t) osPriorityNormal,
};
/* Definitions for Comm485_1_Task */
osThreadId_t Comm485_1_TaskHandle;
uint32_t Comm485_1_TaskBuffer[ 2048 ];
osStaticThreadDef_t Comm485_1_TaskControlBlock;
const osThreadAttr_t Comm485_1_Task_attributes = {
  .name = "Comm485_1_Task",
  .cb_mem = &Comm485_1_TaskControlBlock,
  .cb_size = sizeof(Comm485_1_TaskControlBlock),
  .stack_mem = &Comm485_1_TaskBuffer[0],
  .stack_size = sizeof(Comm485_1_TaskBuffer),
  .priority = (osPriority_t) osPriorityNormal1,
};
/* Definitions for Comm485_2_Task */
osThreadId_t Comm485_2_TaskHandle;
uint32_t Comm485_2_TaskBuffer[ 2048 ];
osStaticThreadDef_t Comm485_2_TaskControlBlock;
const osThreadAttr_t Comm485_2_Task_attributes = {
  .name = "Comm485_2_Task",
  .cb_mem = &Comm485_2_TaskControlBlock,
  .cb_size = sizeof(Comm485_2_TaskControlBlock),
  .stack_mem = &Comm485_2_TaskBuffer[0],
  .stack_size = sizeof(Comm485_2_TaskBuffer),
  .priority = (osPriority_t) osPriorityNormal2,
};
/* Definitions for Comm485_3_Task */
osThreadId_t Comm485_3_TaskHandle;
uint32_t Comm485_3_TaskBuffer[ 2048 ];
osStaticThreadDef_t Comm485_3_TaskControlBlock;
const osThreadAttr_t Comm485_3_Task_attributes = {
  .name = "Comm485_3_Task",
  .cb_mem = &Comm485_3_TaskControlBlock,
  .cb_size = sizeof(Comm485_3_TaskControlBlock),
  .stack_mem = &Comm485_3_TaskBuffer[0],
  .stack_size = sizeof(Comm485_3_TaskBuffer),
  .priority = (osPriority_t) osPriorityNormal3,
};
/* Definitions for CommCAN_1_Task */
osThreadId_t CommCAN_1_TaskHandle;
uint32_t CommCAN_1_TaskBuffer[ 2048 ];
osStaticThreadDef_t CommCAN_1_TaskControlBlock;
const osThreadAttr_t CommCAN_1_Task_attributes = {
  .name = "CommCAN_1_Task",
  .cb_mem = &CommCAN_1_TaskControlBlock,
  .cb_size = sizeof(CommCAN_1_TaskControlBlock),
  .stack_mem = &CommCAN_1_TaskBuffer[0],
  .stack_size = sizeof(CommCAN_1_TaskBuffer),
  .priority = (osPriority_t) osPriorityNormal4,
};
/* Definitions for CommCAN_2_Task */
osThreadId_t CommCAN_2_TaskHandle;
uint32_t CommCAN_2_TaskBuffer[ 2048 ];
osStaticThreadDef_t CommCAN_2_TaskControlBlock;
const osThreadAttr_t CommCAN_2_Task_attributes = {
  .name = "CommCAN_2_Task",
  .cb_mem = &CommCAN_2_TaskControlBlock,
  .cb_size = sizeof(CommCAN_2_TaskControlBlock),
  .stack_mem = &CommCAN_2_TaskBuffer[0],
  .stack_size = sizeof(CommCAN_2_TaskBuffer),
  .priority = (osPriority_t) osPriorityNormal5,
};
/* Definitions for CommCAN_3_Task */
osThreadId_t CommCAN_3_TaskHandle;
uint32_t CommCAN_3_TaskBuffer[ 2048 ];
osStaticThreadDef_t CommCAN_3_TaskControlBlock;
const osThreadAttr_t CommCAN_3_Task_attributes = {
  .name = "CommCAN_3_Task",
  .cb_mem = &CommCAN_3_TaskControlBlock,
  .cb_size = sizeof(CommCAN_3_TaskControlBlock),
  .stack_mem = &CommCAN_3_TaskBuffer[0],
  .stack_size = sizeof(CommCAN_3_TaskBuffer),
  .priority = (osPriority_t) osPriorityNormal6,
};
/* Definitions for CommLAN_1_Task */
osThreadId_t CommLAN_1_TaskHandle;
uint32_t CommLAN_1_TaskBuffer[ 2048 ];
osStaticThreadDef_t CommLAN_1_TaskControlBlock;
const osThreadAttr_t CommLAN_1_Task_attributes = {
  .name = "CommLAN_1_Task",
  .cb_mem = &CommLAN_1_TaskControlBlock,
  .cb_size = sizeof(CommLAN_1_TaskControlBlock),
  .stack_mem = &CommLAN_1_TaskBuffer[0],
  .stack_size = sizeof(CommLAN_1_TaskBuffer),
  .priority = (osPriority_t) osPriorityNormal7,
};
/* Definitions for CommLAN_2_Task */
osThreadId_t CommLAN_2_TaskHandle;
uint32_t CommLAN_2_TaskBuffer[ 2048 ];
osStaticThreadDef_t CommLAN_2_TaskControlBlock;
const osThreadAttr_t CommLAN_2_Task_attributes = {
  .name = "CommLAN_2_Task",
  .cb_mem = &CommLAN_2_TaskControlBlock,
  .cb_size = sizeof(CommLAN_2_TaskControlBlock),
  .stack_mem = &CommLAN_2_TaskBuffer[0],
  .stack_size = sizeof(CommLAN_2_TaskBuffer),
  .priority = (osPriority_t) osPriorityAboveNormal,
};
/* Definitions for DI_Task */
osThreadId_t DI_TaskHandle;
uint32_t DI_TaskBuffer[ 2048 ];
osStaticThreadDef_t DI_TaskControlBlock;
const osThreadAttr_t DI_Task_attributes = {
  .name = "DI_Task",
  .cb_mem = &DI_TaskControlBlock,
  .cb_size = sizeof(DI_TaskControlBlock),
  .stack_mem = &DI_TaskBuffer[0],
  .stack_size = sizeof(DI_TaskBuffer),
  .priority = (osPriority_t) osPriorityBelowNormal7,
};
/* Definitions for ADC_Task */
osThreadId_t ADC_TaskHandle;
uint32_t ADC_TaskBuffer[ 2048 ];
osStaticThreadDef_t ADC_TaskControlBlock;
const osThreadAttr_t ADC_Task_attributes = {
  .name = "ADC_Task",
  .cb_mem = &ADC_TaskControlBlock,
  .cb_size = sizeof(ADC_TaskControlBlock),
  .stack_mem = &ADC_TaskBuffer[0],
  .stack_size = sizeof(ADC_TaskBuffer),
  .priority = (osPriority_t) osPriorityBelowNormal6,
};
/* Definitions for SysManage_Task */
osThreadId_t SysManage_TaskHandle;
uint32_t SysManage_TaskBuffer[ 2048 ];
osStaticThreadDef_t SysManage_TaskControlBlock;
const osThreadAttr_t SysManage_Task_attributes = {
  .name = "SysManage_Task",
  .cb_mem = &SysManage_TaskControlBlock,
  .cb_size = sizeof(SysManage_TaskControlBlock),
  .stack_mem = &SysManage_TaskBuffer[0],
  .stack_size = sizeof(SysManage_TaskBuffer),
  .priority = (osPriority_t) osPriorityAboveNormal1,
};
/* Definitions for BinarySem_485_1_Tx */
osSemaphoreId_t BinarySem_485_1_TxHandle;
osStaticSemaphoreDef_t BinarySem_485_1_TxControlBlock;
const osSemaphoreAttr_t BinarySem_485_1_Tx_attributes = {
  .name = "BinarySem_485_1_Tx",
  .cb_mem = &BinarySem_485_1_TxControlBlock,
  .cb_size = sizeof(BinarySem_485_1_TxControlBlock),
};
/* Definitions for BinarySem_485_1_Rx */
osSemaphoreId_t BinarySem_485_1_RxHandle;
osStaticSemaphoreDef_t BinarySem_485_1_RxControlBlock;
const osSemaphoreAttr_t BinarySem_485_1_Rx_attributes = {
  .name = "BinarySem_485_1_Rx",
  .cb_mem = &BinarySem_485_1_RxControlBlock,
  .cb_size = sizeof(BinarySem_485_1_RxControlBlock),
};
/* Definitions for BinarySem_485_2_Tx */
osSemaphoreId_t BinarySem_485_2_TxHandle;
osStaticSemaphoreDef_t BinarySem_485_2_TxControlBlock;
const osSemaphoreAttr_t BinarySem_485_2_Tx_attributes = {
  .name = "BinarySem_485_2_Tx",
  .cb_mem = &BinarySem_485_2_TxControlBlock,
  .cb_size = sizeof(BinarySem_485_2_TxControlBlock),
};
/* Definitions for BinarySem_485_2_Rx */
osSemaphoreId_t BinarySem_485_2_RxHandle;
osStaticSemaphoreDef_t BinarySem_485_2_RxControlBlock;
const osSemaphoreAttr_t BinarySem_485_2_Rx_attributes = {
  .name = "BinarySem_485_2_Rx",
  .cb_mem = &BinarySem_485_2_RxControlBlock,
  .cb_size = sizeof(BinarySem_485_2_RxControlBlock),
};
/* Definitions for BinarySem_485_3_Tx */
osSemaphoreId_t BinarySem_485_3_TxHandle;
osStaticSemaphoreDef_t BinarySem_485_3_TxControlBlock;
const osSemaphoreAttr_t BinarySem_485_3_Tx_attributes = {
  .name = "BinarySem_485_3_Tx",
  .cb_mem = &BinarySem_485_3_TxControlBlock,
  .cb_size = sizeof(BinarySem_485_3_TxControlBlock),
};
/* Definitions for BinarySem_485_3_Rx */
osSemaphoreId_t BinarySem_485_3_RxHandle;
osStaticSemaphoreDef_t BinarySem_485_3_RxControlBlock;
const osSemaphoreAttr_t BinarySem_485_3_Rx_attributes = {
  .name = "BinarySem_485_3_Rx",
  .cb_mem = &BinarySem_485_3_RxControlBlock,
  .cb_size = sizeof(BinarySem_485_3_RxControlBlock),
};
/* Definitions for BinarySem_LAN_2_Tx */
osSemaphoreId_t BinarySem_LAN_2_TxHandle;
osStaticSemaphoreDef_t BinarySem_LAN_2_TxControlBlock;
const osSemaphoreAttr_t BinarySem_LAN_2_Tx_attributes = {
  .name = "BinarySem_LAN_2_Tx",
  .cb_mem = &BinarySem_LAN_2_TxControlBlock,
  .cb_size = sizeof(BinarySem_LAN_2_TxControlBlock),
};
/* Definitions for BinarySem_LAN_2_Rx */
osSemaphoreId_t BinarySem_LAN_2_RxHandle;
osStaticSemaphoreDef_t BinarySem_LAN_2_RxControlBlock;
const osSemaphoreAttr_t BinarySem_LAN_2_Rx_attributes = {
  .name = "BinarySem_LAN_2_Rx",
  .cb_mem = &BinarySem_LAN_2_RxControlBlock,
  .cb_size = sizeof(BinarySem_LAN_2_RxControlBlock),
};
/* Definitions for Comm485_1_Event */
osEventFlagsId_t Comm485_1_EventHandle;
osStaticEventGroupDef_t Comm485_1_EventControlBlock;
const osEventFlagsAttr_t Comm485_1_Event_attributes = {
  .name = "Comm485_1_Event",
  .cb_mem = &Comm485_1_EventControlBlock,
  .cb_size = sizeof(Comm485_1_EventControlBlock),
};
/* Definitions for Comm485_2_Event */
osEventFlagsId_t Comm485_2_EventHandle;
osStaticEventGroupDef_t Comm485_2_EventControlBlock;
const osEventFlagsAttr_t Comm485_2_Event_attributes = {
  .name = "Comm485_2_Event",
  .cb_mem = &Comm485_2_EventControlBlock,
  .cb_size = sizeof(Comm485_2_EventControlBlock),
};
/* Definitions for Comm485_3_Event */
osEventFlagsId_t Comm485_3_EventHandle;
osStaticEventGroupDef_t Comm485_3_EventControlBlock;
const osEventFlagsAttr_t Comm485_3_Event_attributes = {
  .name = "Comm485_3_Event",
  .cb_mem = &Comm485_3_EventControlBlock,
  .cb_size = sizeof(Comm485_3_EventControlBlock),
};
/* Definitions for CommCAN_1_Event */
osEventFlagsId_t CommCAN_1_EventHandle;
osStaticEventGroupDef_t CommCAN_1_EventControlBlock;
const osEventFlagsAttr_t CommCAN_1_Event_attributes = {
  .name = "CommCAN_1_Event",
  .cb_mem = &CommCAN_1_EventControlBlock,
  .cb_size = sizeof(CommCAN_1_EventControlBlock),
};
/* Definitions for CommCAN_2_Event */
osEventFlagsId_t CommCAN_2_EventHandle;
osStaticEventGroupDef_t CommCAN_2_EventControlBlock;
const osEventFlagsAttr_t CommCAN_2_Event_attributes = {
  .name = "CommCAN_2_Event",
  .cb_mem = &CommCAN_2_EventControlBlock,
  .cb_size = sizeof(CommCAN_2_EventControlBlock),
};
/* Definitions for CommCAN_3_Event */
osEventFlagsId_t CommCAN_3_EventHandle;
osStaticEventGroupDef_t CommCAN_3_EventControlBlock;
const osEventFlagsAttr_t CommCAN_3_Event_attributes = {
  .name = "CommCAN_3_Event",
  .cb_mem = &CommCAN_3_EventControlBlock,
  .cb_size = sizeof(CommCAN_3_EventControlBlock),
};
/* Definitions for CommLAN_1_Event */
osEventFlagsId_t CommLAN_1_EventHandle;
osStaticEventGroupDef_t CommLAN_1_EventControlBlock;
const osEventFlagsAttr_t CommLAN_1_Event_attributes = {
  .name = "CommLAN_1_Event",
  .cb_mem = &CommLAN_1_EventControlBlock,
  .cb_size = sizeof(CommLAN_1_EventControlBlock),
};
/* Definitions for CommLAN_2_Event */
osEventFlagsId_t CommLAN_2_EventHandle;
osStaticEventGroupDef_t CommLAN_2_EventControlBlock;
const osEventFlagsAttr_t CommLAN_2_Event_attributes = {
  .name = "CommLAN_2_Event",
  .cb_mem = &CommLAN_2_EventControlBlock,
  .cb_size = sizeof(CommLAN_2_EventControlBlock),
};
/* Definitions for DI_Event */
osEventFlagsId_t DI_EventHandle;
osStaticEventGroupDef_t DI_EventControlBlock;
const osEventFlagsAttr_t DI_Event_attributes = {
  .name = "DI_Event",
  .cb_mem = &DI_EventControlBlock,
  .cb_size = sizeof(DI_EventControlBlock),
};
/* Definitions for ADC_Event */
osEventFlagsId_t ADC_EventHandle;
osStaticEventGroupDef_t ADC_EventControlBlock;
const osEventFlagsAttr_t ADC_Event_attributes = {
  .name = "ADC_Event",
  .cb_mem = &ADC_EventControlBlock,
  .cb_size = sizeof(ADC_EventControlBlock),
};
/* Definitions for SysManage_Event */
osEventFlagsId_t SysManage_EventHandle;
osStaticEventGroupDef_t SysManage_EventControlBlock;
const osEventFlagsAttr_t SysManage_Event_attributes = {
  .name = "SysManage_Event",
  .cb_mem = &SysManage_EventControlBlock,
  .cb_size = sizeof(SysManage_EventControlBlock),
};

void StartDefaultTask(void *argument);
void StartComm485_1_Task(void *argument);
void StartComm485_2_Task(void *argument);
void StartComm485_3_Task(void *argument);
void StartCommCAN_1_Task(void *argument);
void StartCommCAN_2_Task(void *argument);
void StartCommCAN_3_Task(void *argument);
void StartCommLAN_1_Task(void *argument);
void StartCommLAN_2_Task(void *argument);
void StartDI_Task(void *argument);
void StartADC_Task(void *argument);
void StartSystemManageTask(void *argument);

void MX_FREERTOS_Init(void); /* (MISRA C 2004 rule 8.1) */

void MX_FREERTOS_Init(void) {

  /* Create the semaphores(s) */
  /* creation of BinarySem_485_1_Tx */
  BinarySem_485_1_TxHandle = osSemaphoreNew(1, 0, &BinarySem_485_1_Tx_attributes);

  /* creation of BinarySem_485_1_Rx */
  BinarySem_485_1_RxHandle = osSemaphoreNew(1, 0, &BinarySem_485_1_Rx_attributes);

  /* creation of BinarySem_485_2_Tx */
  BinarySem_485_2_TxHandle = osSemaphoreNew(1, 0, &BinarySem_485_2_Tx_attributes);

  /* creation of BinarySem_485_2_Rx */
  BinarySem_485_2_RxHandle = osSemaphoreNew(1, 0, &BinarySem_485_2_Rx_attributes);

  /* creation of BinarySem_485_3_Tx */
  BinarySem_485_3_TxHandle = osSemaphoreNew(1, 0, &BinarySem_485_3_Tx_attributes);

  /* creation of BinarySem_485_3_Rx */
  BinarySem_485_3_RxHandle = osSemaphoreNew(1, 0, &BinarySem_485_3_Rx_attributes);

  /* creation of BinarySem_LAN_2_Tx */
  BinarySem_LAN_2_TxHandle = osSemaphoreNew(1, 0, &BinarySem_LAN_2_Tx_attributes);

  /* creation of BinarySem_LAN_2_Rx */
  BinarySem_LAN_2_RxHandle = osSemaphoreNew(1, 0, &BinarySem_LAN_2_Rx_attributes);

  /* Create the thread(s) */
  /* creation of defaultTask */
  defaultTaskHandle = osThreadNew(StartDefaultTask, NULL, &defaultTask_attributes);

  /* creation of Comm485_1_Task */
  Comm485_1_TaskHandle = osThreadNew(StartComm485_1_Task, NULL, &Comm485_1_Task_attributes);

  /* creation of Comm485_2_Task */
  Comm485_2_TaskHandle = osThreadNew(StartComm485_2_Task, NULL, &Comm485_2_Task_attributes);

  /* creation of Comm485_3_Task */
  Comm485_3_TaskHandle = osThreadNew(StartComm485_3_Task, NULL, &Comm485_3_Task_attributes);

  /* creation of CommCAN_1_Task */
  CommCAN_1_TaskHandle = osThreadNew(StartCommCAN_1_Task, NULL, &CommCAN_1_Task_attributes);

  /* creation of CommCAN_2_Task */
  CommCAN_2_TaskHandle = osThreadNew(StartCommCAN_2_Task, NULL, &CommCAN_2_Task_attributes);

  /* creation of CommCAN_3_Task */
  CommCAN_3_TaskHandle = osThreadNew(StartCommCAN_3_Task, NULL, &CommCAN_3_Task_attributes);

  /* creation of CommLAN_1_Task */
  CommLAN_1_TaskHandle = osThreadNew(StartCommLAN_1_Task, NULL, &CommLAN_1_Task_attributes);

  /* creation of CommLAN_2_Task */
  CommLAN_2_TaskHandle = osThreadNew(StartCommLAN_2_Task, NULL, &CommLAN_2_Task_attributes);

  /* creation of DI_Task */
  DI_TaskHandle = osThreadNew(StartDI_Task, NULL, &DI_Task_attributes);

  /* creation of ADC_Task */
  ADC_TaskHandle = osThreadNew(StartADC_Task, NULL, &ADC_Task_attributes);

  /* creation of SysManage_Task */
  SysManage_TaskHandle = osThreadNew(StartSystemManageTask, NULL, &SysManage_Task_attributes);

  /* Create the event(s) */
  /* creation of Comm485_1_Event */
  Comm485_1_EventHandle = osEventFlagsNew(&Comm485_1_Event_attributes);

  /* creation of Comm485_2_Event */
  Comm485_2_EventHandle = osEventFlagsNew(&Comm485_2_Event_attributes);

  /* creation of Comm485_3_Event */
  Comm485_3_EventHandle = osEventFlagsNew(&Comm485_3_Event_attributes);

  /* creation of CommCAN_1_Event */
  CommCAN_1_EventHandle = osEventFlagsNew(&CommCAN_1_Event_attributes);

  /* creation of CommCAN_2_Event */
  CommCAN_2_EventHandle = osEventFlagsNew(&CommCAN_2_Event_attributes);

  /* creation of CommCAN_3_Event */
  CommCAN_3_EventHandle = osEventFlagsNew(&CommCAN_3_Event_attributes);

  /* creation of CommLAN_1_Event */
  CommLAN_1_EventHandle = osEventFlagsNew(&CommLAN_1_Event_attributes);

  /* creation of CommLAN_2_Event */
  CommLAN_2_EventHandle = osEventFlagsNew(&CommLAN_2_Event_attributes);

  /* creation of DI_Event */
  DI_EventHandle = osEventFlagsNew(&DI_Event_attributes);

  /* creation of ADC_Event */
  ADC_EventHandle = osEventFlagsNew(&ADC_Event_attributes);

  /* creation of SysManage_Event */
  SysManage_EventHandle = osEventFlagsNew(&SysManage_Event_attributes);

}

void StartDefaultTask(void *argument)
{
  /* USER CODE BEGIN StartDefaultTask */
  /* Infinite loop */
  for(;;)
  {
    osDelay(1000);
    // printf("__FUNC__: %s\n", __func__);
    // HAL_UART_Transmit(&huart1, (uint8_t *)"huart1\n", 8, HAL_MAX_DELAY);
    // HAL_UART_Transmit(&huart3, (uint8_t *)"huart3\n", 8, HAL_MAX_DELAY);
    // HAL_UART_Transmit(&huart4, (uint8_t *)"huart4\n", 8, HAL_MAX_DELAY);
  }
  /* USER CODE END StartDefaultTask */
}

void StartComm485_1_Task(void *argument)
{
  /* USER CODE BEGIN StartComm485_1_Task */
  /* Infinite loop */
  Comm485_1_Task();
  /* USER CODE END StartComm485_1_Task */
}

void StartComm485_2_Task(void *argument)
{
  /* USER CODE BEGIN StartComm485_2_Task */
  /* Infinite loop */
  Comm485_2_Task();
  /* USER CODE END StartComm485_2_Task */
}

void StartComm485_3_Task(void *argument)
{
  /* USER CODE BEGIN StartComm485_3_Task */
  /* Infinite loop */
  Comm485_3_Task();
  /* USER CODE END StartComm485_3_Task */
}

void StartCommCAN_1_Task(void *argument)
{
  /* USER CODE BEGIN StartCommCAN_1_Task */
  /* Infinite loop */
  CommCAN_1_Task();
  /* USER CODE END StartCommCAN_1_Task */
}

void StartCommCAN_2_Task(void *argument)
{
  /* USER CODE BEGIN StartCommCAN_2_Task */
  /* Infinite loop */
  CommCAN_2_Task();
  /* USER CODE END StartCommCAN_2_Task */
}

void StartCommCAN_3_Task(void *argument)
{
  /* USER CODE BEGIN StartCommCAN_3_Task */
  /* Infinite loop */
  CommCAN_3_Task();
  /* USER CODE END StartCommCAN_3_Task */
}

void StartCommLAN_1_Task(void *argument)
{
  /* USER CODE BEGIN StartCommLAN_1_Task */
  /* Infinite loop */
  CommLAN_1_Task();
  /* USER CODE END StartCommLAN_1_Task */
}

void StartCommLAN_2_Task(void *argument)
{
  /* USER CODE BEGIN StartCommLAN_2_Task */
  /* Infinite loop */
  CommLAN_2_Task();
  /* USER CODE END StartCommLAN_2_Task */
}

void StartDI_Task(void *argument)
{
  /* USER CODE BEGIN StartDI_Task */
  /* Infinite loop */
  DI_Task();
  /* USER CODE END StartDI_Task */
}

void StartADC_Task(void *argument)
{
  /* USER CODE BEGIN StartADC_Task */
  /* Infinite loop */
  ADC_Task();
  /* USER CODE END StartADC_Task */
}

void StartSystemManageTask(void *argument)
{
  /* USER CODE BEGIN StartSystemManageTask */
  /* Infinite loop */
  SysManage_Task();
  /* USER CODE END StartSystemManageTask */
}

/* USER CODE BEGIN Application */
void Task_Cycle_Count(void)
{
  static uint16_t Comm485_1_tick = 1;
  static uint16_t Comm485_2_tick = 3;
  static uint16_t Comm485_3_tick = 5;
  static uint16_t CommCAN_1_tick = 7;
  static uint16_t CommCAN_2_tick = 9;
  static uint16_t CommCAN_3_tick = 11;
  static uint16_t CommLAN_1_tick = 13;
  static uint16_t CommLAN_2_tick = 15;
  static uint16_t DI_tick = 17;
  static uint16_t ADC_tick = 19;
  static uint16_t SysManage_tick = 21;

  if(++Comm485_1_tick >= Comm485_Task_Cycle)
  {
    Comm485_1_tick = 0;
    osEventFlagsSet(Comm485_1_EventHandle, Comm485_1_Event_Tick);
  }

  if(++Comm485_2_tick >= Comm485_Task_Cycle)
  {
    Comm485_2_tick = 0;
    osEventFlagsSet(Comm485_2_EventHandle, Comm485_2_Event_Tick);
  }

  if(++Comm485_3_tick >= Comm485_Task_Cycle)
  {
    Comm485_3_tick = 0;
    osEventFlagsSet(Comm485_3_EventHandle, Comm485_3_Event_Tick);
  }

  if(++CommCAN_1_tick >= CommCAN_Task_Cycle)
  {
    CommCAN_1_tick = 0;
    osEventFlagsSet(CommCAN_1_EventHandle, CommCAN_1_Event_Tick);
  }

  if(++CommCAN_2_tick >= CommCAN_Task_Cycle)
  {
    CommCAN_2_tick = 0;
    osEventFlagsSet(CommCAN_2_EventHandle, CommCAN_2_Event_Tick);
  }

  if(++CommCAN_3_tick >= CommCAN_Task_Cycle)
  {
    CommCAN_3_tick = 0;
    osEventFlagsSet(CommCAN_3_EventHandle, CommCAN_3_Event_Tick);
  }

  if(++CommLAN_1_tick >= CommLAN_1_Task_Cycle)
  {
    CommLAN_1_tick = 0;
    osEventFlagsSet(CommLAN_1_EventHandle, CommLAN_1_Event_Tick);
  }

  if(++CommLAN_2_tick >= CommLAN_2_Task_Cycle)
  {
    CommLAN_2_tick = 0;
    osEventFlagsSet(CommLAN_2_EventHandle, CommLAN_2_Event_Tick);
  }

  if(++DI_tick >= DI_Task_Cycle)
  {
    DI_tick = 0;
    osEventFlagsSet(DI_EventHandle, DI_Event_Tick);
  }

  if(++ADC_tick >= ADC_Task_Cycle)
  {
    ADC_tick = 0;
    osEventFlagsSet(ADC_EventHandle, ADC_Event_Tick);
  }

  if(++SysManage_tick >= SysManage_Task_Cycle)
  {
    SysManage_tick = 0;
    osEventFlagsSet(SysManage_EventHandle, SysManage_Event_Tick);
  }

}

/* USER CODE END Application */
